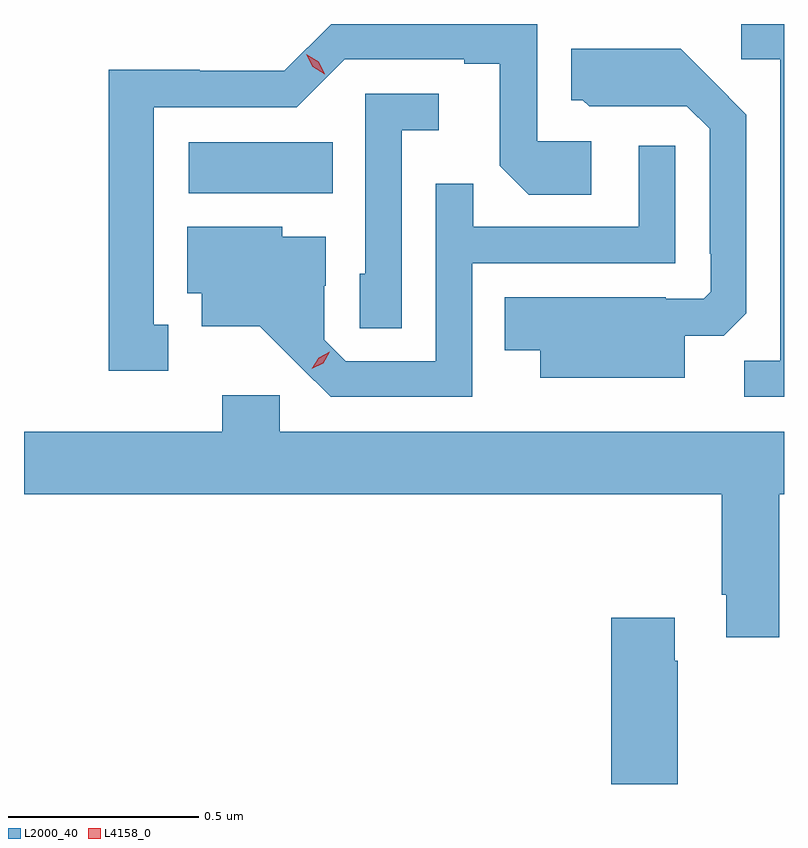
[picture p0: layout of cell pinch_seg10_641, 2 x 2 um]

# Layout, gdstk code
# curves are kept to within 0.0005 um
import gdstk
lib = gdstk.Library(unit=1e-6, precision=1e-09)
def R(c, l, rs):  # rectangles x0, y0, x1, y1
    for r in rs: c.add(gdstk.rectangle(r[:2], r[2:], *l))
def P(c, l, *ps):  # polygons
    for p in ps: c.add(gdstk.Polygon(p, *l))
L2000_40 = (2000, 40)
L4158_0 = (4158, 0)

pinch_seg10_641 = lib.new_cell('pinch_seg10_641')
R(pinch_seg10_641, L2000_40, [(346.056,1285.124,346.436,1285.258)])
P(pinch_seg10_641, L2000_40, [(347.623,1285.569),(347.511,1285.569),(347.511,1285.476),(347.613,1285.476),(347.613,1284.683),(347.518,1284.683),(347.518,1284.588),(347.623,1284.588)],
  [(346.003,1284.777),(345.964,1284.777),(345.964,1285.35),(346.341,1285.35),(346.467,1285.476),(346.781,1285.476),(346.781,1285.464),(346.875,1285.464),(346.875,1285.196),(346.951,1285.12),(347.116,1285.12),(347.116,1285.26),(346.974,1285.26),(346.974,1285.569),(346.431,1285.569),(346.308,1285.446),(346.086,1285.446),(346.086,1285.448),(345.846,1285.448),(345.846,1284.657),(346.003,1284.657)],
  [(347.362,1284.749),(347.464,1284.749),(347.523,1284.808),(347.523,1285.33),(347.351,1285.504),(347.063,1285.504),(347.063,1285.368),(347.094,1285.368),(347.11,1285.352),(347.244,1285.352),(347.244,1285.353),(347.367,1285.353),(347.427,1285.293),(347.427,1284.964),(347.43,1284.964),(347.43,1284.864),(347.412,1284.846),(347.312,1284.846),(347.312,1284.85),(346.888,1284.85),(346.888,1284.71),(346.982,1284.71),(346.982,1284.638),(347.362,1284.638)],
  [(346.617,1285.289),(346.714,1285.289),(346.714,1285.386),(346.521,1285.386),(346.521,1284.912),(346.506,1284.912),(346.506,1284.769),(346.617,1284.769)],
  [(346.803,1284.939),(347.337,1284.939),(347.337,1285.249),(347.241,1285.249),(347.241,1285.035),(346.805,1285.035),(346.805,1285.148),(346.707,1285.148),(346.707,1284.681),(346.47,1284.681),(346.413,1284.738),(346.413,1284.88),(346.417,1284.88),(346.417,1285.009),(346.302,1285.009),(346.302,1285.036),(346.052,1285.036),(346.052,1284.86),(346.091,1284.86),(346.091,1284.773),(346.243,1284.773),(346.43,1284.588),(346.803,1284.588)],
  [(347.611,1284.332),(347.623,1284.332),(347.623,1284.496),(346.296,1284.496),(346.296,1284.592),(346.145,1284.592),(346.145,1284.496),(345.623,1284.496),(345.623,1284.332),(347.459,1284.332),(347.459,1284.067),(347.471,1284.067),(347.471,1283.955),(347.611,1283.955)],
  [(347.343,1283.894),(347.335,1283.894),(347.335,1284.007),(347.168,1284.007),(347.168,1283.569),(347.343,1283.569)])
P(pinch_seg10_641, L4158_0, [(346.38,1284.662),(346.38,1284.662),(346.398,1284.691),(346.428,1284.706),(346.428,1284.706),(346.428,1284.706),(346.411,1284.676),(346.38,1284.662)],
  [(346.415,1285.437),(346.383,1285.456),(346.366,1285.489),(346.366,1285.489),(346.366,1285.489),(346.398,1285.47),(346.415,1285.437),(346.415,1285.437)])

lib.write_gds('pinch_seg10_641.gds')
